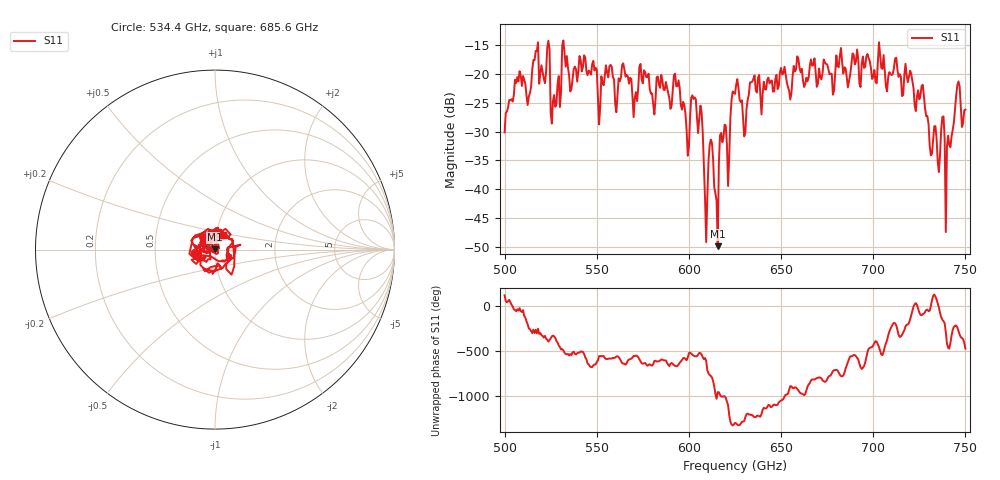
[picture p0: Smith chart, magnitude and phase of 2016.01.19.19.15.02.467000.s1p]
!Created with skrf (http://scikit-rf.org).
# GHz S RI R 50.0
!freq ReS11 ImS11
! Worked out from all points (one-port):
!   401 points, 500 GHz to 750 GHz, reference 50 ohm
!   lowest |S11| = -49.9 dB at 615.6 GHz (marker M1), VSWR 1.01, Z = 49.8 + j0.265 ohm
!   |S11| at or under -10 dB: start of sweep to end of sweep
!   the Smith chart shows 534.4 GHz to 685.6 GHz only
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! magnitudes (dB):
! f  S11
! 500 GHz  -30.2
! 506.9 GHz  -20.6
! 513.1 GHz  -24.0
! 516.9 GHz  -16.0
! 523.1 GHz  -15.5
! 526.2 GHz  -24.7
! 531.2 GHz  -15.1
! 551.9 GHz  -25.7
! 562.5 GHz  -21.3
! 593.8 GHz  -22.2
! 599.4 GHz  -34.2
! 602.5 GHz  -24.4
! 606.2 GHz  -25.5
! 609.4 GHz  -49.2
! 611.9 GHz  -31.4
! 614.4 GHz  -40.7
! 615.6 GHz  -49.9
! 618.1 GHz  -31.9
! 621.2 GHz  -39.5
! 625 GHz  -23.5
! 630.6 GHz  -30.2
! 634.4 GHz  -21.3
! 656.2 GHz  -20.4
! 687.5 GHz  -20.1
! 718.8 GHz  -21.5
! 740.6 GHz  -30.7
! 745.6 GHz  -22.0
! 750 GHz  -26.2
